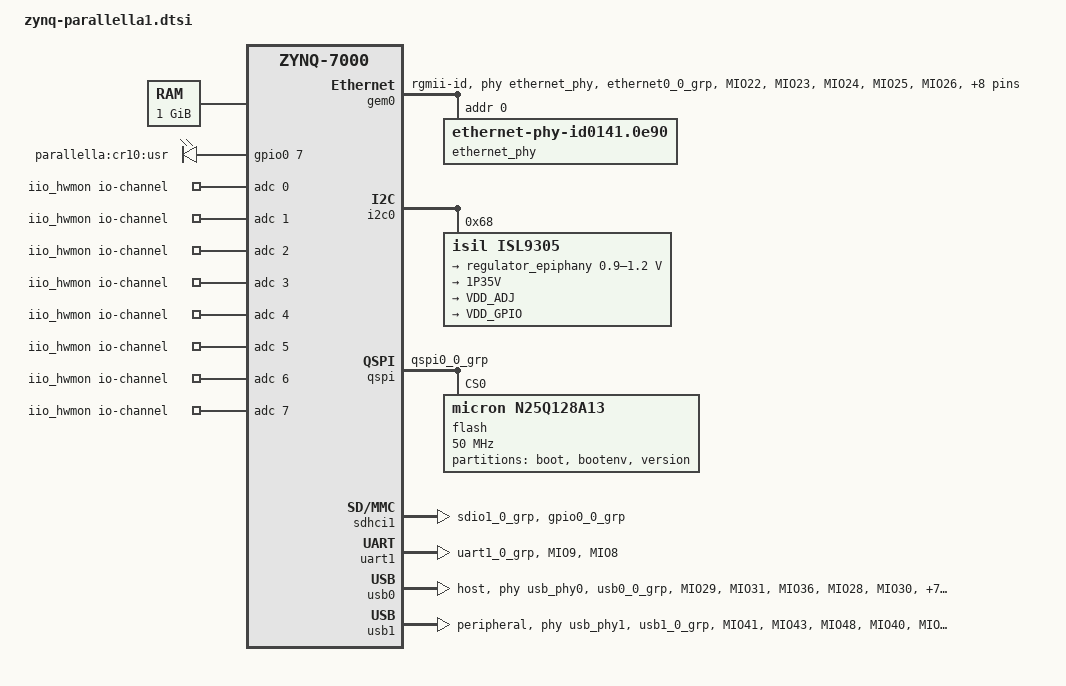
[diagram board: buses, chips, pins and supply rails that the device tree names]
/*
 * Copyright (c) 2014 SUSE LINUX Products GmbH
 * Copyright (c) 2015 SUSE Linux GmbH
 * Copyright (c) 2015 Adapteva Inc.
 *
 * Derived from zynq-zed.dts:
 *
 *  Copyright (C) 2011 Xilinx
 *  Copyright (C) 2012 National Instruments Corp.
 *  Copyright (C) 2013 Xilinx
 *
 * This software is licensed under the terms of the GNU General Public
 * License version 2, as published by the Free Software Foundation, and
 * may be copied, distributed, and modified under those terms.
 *
 * This program is distributed in the hope that it will be useful,
 * but WITHOUT ANY WARRANTY; without even the implied warranty of
 * MERCHANTABILITY or FITNESS FOR A PARTICULAR PURPOSE.  See the
 * GNU General Public License for more details.
 */
/include/ "zynq-7000.dtsi"
#include <dt-bindings/gpio/gpio.h>

/ {
	compatible = "adapteva,parallella", "xlnx,zynq-7000";

	aliases {
		ethernet0 = &gem0;
		serial0 = &uart1;
	};

	memory {
		device_type = "memory";
		reg = <0x0 0x40000000>;
	};

	reserved-memory {
		#address-cells = <1>;
		#size-cells = <1>;
		ranges;
		emem: emem@3e000000 {
			reg = <0x3e000000 0x2000000>;
			no-map;
		};
	};

	chosen {
		bootargs = "console=ttyPS0,115200 earlyprintk root=/dev/mmcblk0p2 rootfstype=ext4 rw rootwait";
		linux,stdout-path = "/amba/serial@e0001000";
	};

	leds {
		compatible = "gpio-leds";

		cr10 {
			label = "parallella:cr10:usr";
			gpios = <&gpio0 7 GPIO_ACTIVE_HIGH>;
			default-state = "on";
		};
	};

	usb_phy0: phy0 {
		compatible = "usb-nop-xceiv";
		#phy-cells = <0>;
		status = "disabled";
	};

	usb_phy1: phy1 {
		compatible = "usb-nop-xceiv";
		#phy-cells = <0>;
		status = "disabled";
	};

	elink0: elink0@80000000 {
	};

	iio_hwmon {
		compatible = "iio-hwmon";
		/* 1 temperature channel, and 8 voltage channels */
		io-channels = <&adc 0>,
			    <&adc 1>, <&adc 2>, <&adc 3>, <&adc 4>,
			    <&adc 5>, <&adc 6>, <&adc 7>, <&adc 8>;
	};
};

&clkc {
	fclk-enable = <0xf>;
	ps-clk-frequency = <33333333>;
};

&elink0 {
	compatible = "adapteva,elink";

	interrupts = <0 55 1>;
	interrupt-parent = <&intc>;

	clocks = <&clkc 15>, <&clkc 16>, <&clkc 17>, <&clkc 18>;
	clock-names = "fclk0", "fclk1", "fclk2", "fclk3";

	#address-cells = <2>; /* <north-west core's id, side (NESW)> */
	#size-cells = <2>; /* <#chip rows, #chip cols> */

	/* Can have more than one reserved memory region. Memory regions
	 * can be shared by elinks.  */
	memory-region = <&emem>;

	/* Can have at most one child node with compatible string
	 * "adapteva,array" or "adapteva,gpio" ??? */

	/* First range is FPGA config regs.
	 * Second range is mappable emesh region.
	 * _4_ * 64 * (1<<20)
	 */
	reg = <0x81000000 0x100000>, <0x80000000 0x10000000>;

	/* (Optional) coreid pin-out register(s) configuration. */
	/* If we add some constraints we could derive this from the
	 * child node ???
	 */
	/*adapteva,coreid = <0x808>; */

	/* No connection between elink coreid pins and the Epiphany chip */
	adapteva,no-coreid-pinout;

	/* Initial FPGA elink MMU config. This is hardcoded in the FPGA
	 * code now.
	 * Not sure if we actually need it here. Driver needs to probe
	 * bitstream version to check whether it is supported or not
	 * anyways. And if not this is the only mapping we will allow */
	adapteva,mmu = <0x8e000000 0x3e000000 0x02000000>;

	/* Optional power / thermal control. Will not implement much for
	 * now but will read supply voltage to check if we can
	 * run chip elink TX at full speed. Can be a list. */
	vdd-supply = <&regulator_epiphany>; /* Can be a list */
	/*io-channels = <&adc 0>;*/
	/*io-channel-names = "zynq_temp";*/

	array0@808 {
		compatible = "adapteva,chip-array";
		/* North-westmost coreid, #NESW, #chip rows, #chip cols */
		reg = <0x808 1 1 1>;

/*
		// reg North=0, East=1, South=2, West=3
		ports {
			#address-cells = <1>;
			#size-cells = <0>;
			port@0 {
				reg = <1>;

				array0_east: endpoint {
					remote-endpoint = <&elink0_port>;
				};
			};
		};
*/
	};
};

&gem0 {
	status = "okay";
	phy-mode = "rgmii-id";
	phy-handle = <&ethernet_phy>;
	pinctrl-names = "default";
	pinctrl-0 = <&pinctrl_gem0_default>;

	ethernet_phy: ethernet-phy@0 {
		/* Marvell 88E1318 */
		compatible = "ethernet-phy-id0141.0e90",
		             "ethernet-phy-ieee802.3-c22";
		reg = <0>;
		marvell,reg-init = <0x3 0x10 0xff00 0x1e>,
		                   <0x3 0x11 0xfff0 0xa>;
	};
};

&gpio0 {
	pinctrl-names = "default";
	pinctrl-0 = <&pinctrl_gpio0_default>;
};

&i2c0 {
	status = "okay";

	isl9305: isl9305@68 {
		compatible = "isil,isl9305";
		reg = <0x68>;

		regulators {
			regulator_epiphany: dcd1 {
				regulator-name = "VDD_DSP";
				regulator-min-microvolt =  <900000>;
				regulator-max-microvolt = <1200000>;
			};
			dcd2 {
				regulator-name = "1P35V";
				regulator-always-on;
			};
			ldo1 {
				regulator-name = "VDD_ADJ";
				regulator-always-on;
			};
			ldo2 {
				regulator-name = "VDD_GPIO";
				regulator-always-on;
			};
		};
	};
};

&pinctrl0 {
	pinctrl_gem0_default: gem0-default {
		mux {
			function = "ethernet0";
			groups = "ethernet0_0_grp";
		};

		conf {
			groups = "ethernet0_0_grp";
			slew-rate = <0>;
			io-standard = <1>;
		};

		conf-rx {
			pins = "MIO22", "MIO23", "MIO24", "MIO25", "MIO26", "MIO27";
			bias-high-impedance;
			low-power-disable;
		};

		conf-tx {
			pins = "MIO16", "MIO17", "MIO18", "MIO19", "MIO20", "MIO21";
			bias-disable;
			low-power-enable;
		};

		mux-mdio {
			function = "mdio0";
			groups = "mdio0_0_grp";
		};

		conf-mdio {
			groups = "mdio0_0_grp";
			slew-rate = <0>;
			io-standard = <1>;
			bias-disable;
		};
	};

	pinctrl_gpio0_default: gpio0-default {
		mux {
			function = "gpio0";
			groups = "gpio0_7_grp";
		};

		conf {
			groups = "gpio0_7_grp";
			slew-rate = <0>;
			io-standard = <3>;
		};

		conf-pull-up {
			pins = "MIO7";
			bias-pull-up;
		};
	};

	pinctrl_qspi0_default: qspi0-default {
		mux {
			function = "qspi0";
			groups = "qspi0_0_grp";
		};

		conf {
			groups = "qspi0_0_grp";
			io-standard = <3>;
		};
	};

	pinctrl_sdhci1_default: sdhci1-default {
		mux {
			function = "sdio1";
			groups = "sdio1_0_grp";
		};

		conf {
			groups = "sdio1_0_grp";
			slew-rate = <0>;
			io-standard = <1>;
			bias-disable;
		};

		mux-cd {
			function = "sdio1_cd";
			groups = "gpio0_0_grp";
		};

		conf-cd {
			groups = "gpio0_0_grp";
			bias-high-impedance;
			bias-pull-up;
			slew-rate = <0>;
			io-standard = <3>;
		};
	};

	pinctrl_uart1_default: uart1-default {
		mux {
			function = "uart1";
			groups = "uart1_0_grp";
		};

		conf {
			groups = "uart1_0_grp";
			slew-rate = <0>;
			io-standard = <3>;
		};

		conf-rx {
			pins = "MIO9";
			bias-high-impedance;
		};

		conf-tx {
			pins = "MIO8";
			bias-disable = <0>;
		};
	};

	pinctrl_usb0_default: usb0-default {
		mux {
			function = "usb0";
			groups = "usb0_0_grp";
		};

		conf {
			groups = "usb0_0_grp";
			slew-rate = <0>;
			io-standard = <1>;
		};

		conf-rx {
			pins = "MIO29", "MIO31", "MIO36";
			bias-high-impedance;
		};

		conf-tx {
			pins = "MIO28", "MIO30", "MIO32", "MIO33", "MIO34",
			       "MIO35", "MIO37", "MIO38", "MIO39";
			bias-disable;
		};
	};

	pinctrl_usb1_default: usb1-default {
		mux {
			function = "usb1";
			groups = "usb1_0_grp";
		};

		conf {
			groups = "usb1_0_grp";
			slew-rate = <0>;
			io-standard = <1>;
		};

		conf-rx {
			pins = "MIO41", "MIO43", "MIO48";
			bias-high-impedance;
		};

		conf-tx {
			pins = "MIO40", "MIO42", "MIO44", "MIO45", "MIO46",
			       "MIO47", "MIO49", "MIO50", "MIO51";
			bias-disable;
		};
	};
};

&qspi {
	status = "okay";
	pinctrl-names = "default";
	pinctrl-0 = <&pinctrl_qspi0_default>;

	flash@0 {
		compatible = "micron,n25q128a13";
		reg = <0x0>;
		spi-max-frequency = <50000000>;
		#address-cells = <1>;
		#size-cells = <1>;
		m25p,fast-read;
		partition@0x00000000 {
			label = "boot";
			reg = <0x00000000 0x004e0000>;
		};
		partition@0x004e0000 {
			label = "bootenv";
			reg = <0x004e0000 0x00020000>;
		};
		partition@0x00ff0000 {
			label = "version";
			reg = <0x00ff0000 0x00010000>;
			/* Offset	Name	Description
			 * 0x0:		Version	32-bit LSB running number @0x0
			 * 0x4		Magic	"0x13371338"
			 */
		};
	};
};

&sdhci1 {
	status = "okay";
	pinctrl-names = "default";
	pinctrl-0 = <&pinctrl_sdhci1_default>;
};

&uart1 {
	status = "okay";
	pinctrl-names = "default";
	pinctrl-0 = <&pinctrl_uart1_default>;
	cdns,rx-no-pullup; /* Missing pull-up resistor */
};

&usb0 {
	dr_mode = "host";
	usb-phy = <&usb_phy0>;
	pinctrl-names = "default";
	pinctrl-0 = <&pinctrl_usb0_default>;
};

&usb1 {
	dr_mode = "peripheral";
	usb-phy = <&usb_phy1>;
	pinctrl-names = "default";
	pinctrl-0 = <&pinctrl_usb1_default>;
};

&adc {
	#io-channel-cells = <1>;
	xlnx,channels {
		#address-cells = <1>;
		#size-cells = <0>;
		channel@0 {
			#io-channel-cells = <0>;
			reg = <0>;
		};
	};
};

&devcfg {
	/* Override clocks, xdevcfg driver wants fclk{0..3} */
	clocks = <&clkc 12>, <&clkc 15>, <&clkc 16>, <&clkc 17>, <&clkc 18>;
	clock-names = "ref_clk", "fclk0", "fclk1", "fclk2", "fclk3";
};
